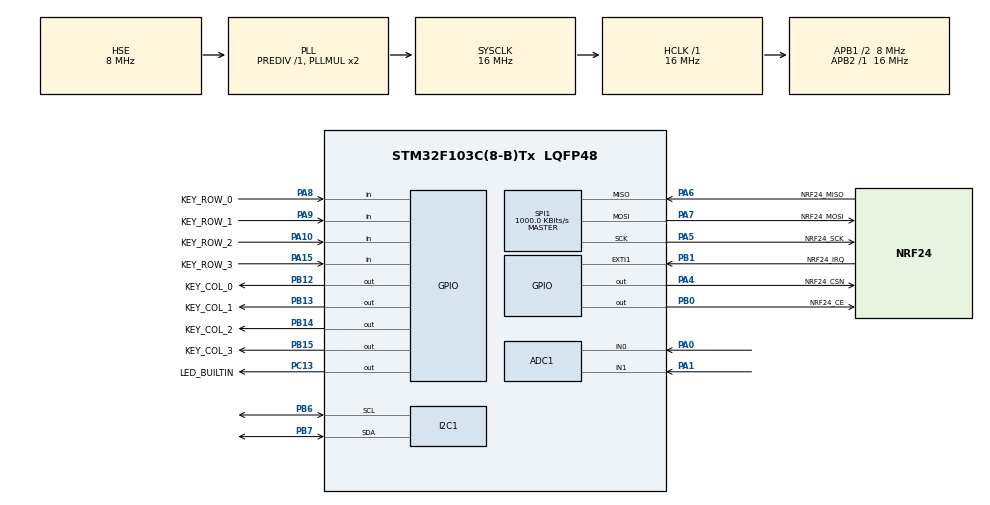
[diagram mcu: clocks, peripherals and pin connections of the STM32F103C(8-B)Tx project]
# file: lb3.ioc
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ADC1.Channel-0\#ChannelRegularConversion=ADC_CHANNEL_0
ADC1.Channel-1\#ChannelRegularConversion=ADC_CHANNEL_1
ADC1.ContinuousConvMode=ENABLE
ADC1.DiscontinuousConvMode=DISABLE
ADC1.NbrOfConversion=2
ADC1.NbrOfConversionFlag=1
ADC1.Rank-0\#ChannelRegularConversion=1
ADC1.Rank-1\#ChannelRegularConversion=2
ADC1.SamplingTime-0\#ChannelRegularConversion=ADC_SAMPLETIME_239CYCLES_5
ADC1.SamplingTime-1\#ChannelRegularConversion=ADC_SAMPLETIME_239CYCLES_5
ADC1.master=1
Dma.ADC1.3.Direction=DMA_PERIPH_TO_MEMORY
Dma.ADC1.3.Instance=DMA1_Channel1
Dma.ADC1.3.MemDataAlignment=DMA_MDATAALIGN_WORD
Dma.ADC1.3.MemInc=DMA_MINC_ENABLE
Dma.ADC1.3.Mode=DMA_CIRCULAR
Dma.ADC1.3.PeriphDataAlignment=DMA_PDATAALIGN_WORD
Dma.ADC1.3.PeriphInc=DMA_PINC_DISABLE
Dma.ADC1.3.Priority=DMA_PRIORITY_LOW
Dma.I2C1_TX.0.Direction=DMA_MEMORY_TO_PERIPH
Dma.I2C1_TX.0.Instance=DMA1_Channel6
Dma.I2C1_TX.0.MemDataAlignment=DMA_MDATAALIGN_BYTE
Dma.I2C1_TX.0.MemInc=DMA_MINC_ENABLE
Dma.I2C1_TX.0.Mode=DMA_NORMAL
Dma.I2C1_TX.0.PeriphDataAlignment=DMA_PDATAALIGN_BYTE
Dma.I2C1_TX.0.PeriphInc=DMA_PINC_DISABLE
Dma.I2C1_TX.0.Priority=DMA_PRIORITY_LOW
Dma.Request0=I2C1_TX
Dma.Request1=SPI1_TX
Dma.Request2=SPI1_RX
Dma.Request3=ADC1
Dma.SPI1_RX.2.Direction=DMA_PERIPH_TO_MEMORY
Dma.SPI1_RX.2.Instance=DMA1_Channel2
Dma.SPI1_RX.2.MemDataAlignment=DMA_MDATAALIGN_BYTE
Dma.SPI1_RX.2.MemInc=DMA_MINC_ENABLE
Dma.SPI1_RX.2.Mode=DMA_NORMAL
Dma.SPI1_RX.2.PeriphDataAlignment=DMA_PDATAALIGN_BYTE
Dma.SPI1_RX.2.PeriphInc=DMA_PINC_DISABLE
Dma.SPI1_RX.2.Priority=DMA_PRIORITY_LOW
Dma.SPI1_TX.1.Direction=DMA_MEMORY_TO_PERIPH
Dma.SPI1_TX.1.Instance=DMA1_Channel3
Dma.SPI1_TX.1.MemDataAlignment=DMA_MDATAALIGN_BYTE
Dma.SPI1_TX.1.MemInc=DMA_MINC_ENABLE
Dma.SPI1_TX.1.Mode=DMA_NORMAL
Dma.SPI1_TX.1.PeriphDataAlignment=DMA_PDATAALIGN_BYTE
Dma.SPI1_TX.1.PeriphInc=DMA_PINC_DISABLE
Dma.SPI1_TX.1.Priority=DMA_PRIORITY_LOW
FREERTOS.BinarySemaphores01=i2cTxDoneSemHandle,Dynamic,NULL,Available;radioIrqSemHandle,Dynamic,NULL,Available
FREERTOS.Queues01=radioTxQueueHandle,2,32,1,Dynamic,NULL,NULL;displayQueueHandle,4,40,1,Dynamic,NULL,NULL;keyEventQueueHandle,8,1,1,Dynamic,NULL,NULL
FREERTOS.Tasks01=logic_task,24,512,logic_task_entry,Default,NULL,Dynamic,NULL,NULL;radio_task,24,160,radio_task_entry,Default,NULL,Dynamic,NULL,NULL;display_task,8,192,display_task_entry,Default,NULL,Dynamic,NULL,NULL;keypad_task,32,128,keypad_task_entry,Default,NULL,Dynamic,NULL,NULL
FREERTOS.configTOTAL_HEAP_SIZE=10240
FREERTOS.configUSE_IDLE_HOOK=1
FREERTOS.configUSE_NEWLIB_REENTRANT=1
IWDG.Prescaler=IWDG_PRESCALER_128
Mcu.Family=STM32F1
Mcu.Name=STM32F103C(8-B)Tx
Mcu.Package=LQFP48
NVIC.DMA1_Channel1_IRQn=true\:5\:0\:false\:false\:true\:true\:false\:true\:true
NVIC.DMA1_Channel2_IRQn=true\:5\:0\:false\:false\:true\:true\:false\:true\:true
NVIC.DMA1_Channel3_IRQn=true\:5\:0\:false\:false\:true\:true\:false\:true\:true
NVIC.DMA1_Channel6_IRQn=true\:5\:0\:false\:false\:true\:true\:false\:true\:true
NVIC.EXTI1_IRQn=true\:5\:0\:false\:false\:true\:true\:true\:true\:true
NVIC.I2C1_ER_IRQn=true\:6\:0\:true\:false\:true\:true\:true\:true\:true
NVIC.I2C1_EV_IRQn=true\:6\:0\:true\:false\:true\:true\:true\:true\:true
NVIC.PriorityGroup=NVIC_PRIORITYGROUP_4
NVIC.TIM1_UP_IRQn=true\:15\:0\:false\:false\:true\:false\:false\:true\:true
NVIC.TimeBase=TIM1_UP_IRQn
NVIC.TimeBaseIP=TIM1
PA0-WKUP.Signal=ADCx_IN0
PA1.Signal=ADCx_IN1
PA10.GPIO_Label=KEY_ROW_2
PA10.GPIO_PuPd=GPIO_PULLUP
PA10.Signal=GPIO_Input
PA13.Mode=Serial_Wire
PA13.Signal=SYS_JTMS-SWDIO
PA14.Mode=Serial_Wire
PA14.Signal=SYS_JTCK-SWCLK
PA15.GPIO_Label=KEY_ROW_3
PA15.GPIO_PuPd=GPIO_PULLUP
PA15.Signal=GPIO_Input
PA4.GPIO_Label=NRF24_CSN
PA4.PinState=GPIO_PIN_SET
PA4.Signal=GPIO_Output
PA5.GPIO_Label=NRF24_SCK
PA5.Mode=Full_Duplex_Master
PA5.Signal=SPI1_SCK
PA6.GPIO_Label=NRF24_MISO
PA6.Mode=Full_Duplex_Master
PA6.Signal=SPI1_MISO
PA7.GPIO_Label=NRF24_MOSI
PA7.Mode=Full_Duplex_Master
PA7.Signal=SPI1_MOSI
PA8.GPIO_Label=KEY_ROW_0
PA8.GPIO_PuPd=GPIO_PULLUP
PA8.Signal=GPIO_Input
PA9.GPIO_Label=KEY_ROW_1
PA9.GPIO_PuPd=GPIO_PULLUP
PA9.Signal=GPIO_Input
PB0.GPIO_Label=NRF24_CE
PB0.Signal=GPIO_Output
PB1.GPIO_Label=NRF24_IRQ
PB1.GPIO_ModeDefaultEXTI=GPIO_MODE_IT_FALLING
PB1.GPIO_PuPd=GPIO_PULLUP
PB1.Signal=GPXTI1
PB12.GPIO_Label=KEY_COL_0
PB12.Signal=GPIO_Output
PB13.GPIO_Label=KEY_COL_1
PB13.Signal=GPIO_Output
PB14.GPIO_Label=KEY_COL_2
PB14.Signal=GPIO_Output
PB15.GPIO_Label=KEY_COL_3
PB15.Signal=GPIO_Output
PB6.Mode=I2C
PB6.Signal=I2C1_SCL
PB7.Mode=I2C
PB7.Signal=I2C1_SDA
PC13-TAMPER-RTC.GPIO_Label=LED_BUILTIN
PC13-TAMPER-RTC.PinState=GPIO_PIN_SET
PC13-TAMPER-RTC.Signal=GPIO_Output
PC15-OSC32_OUT.Signal=RCC_OSC32_OUT
PD0-OSC_IN.Mode=HSE-External-Oscillator
PD0-OSC_IN.Signal=RCC_OSC_IN
PD1-OSC_OUT.Mode=HSE-External-Oscillator
PD1-OSC_OUT.Signal=RCC_OSC_OUT
ProjectManager.HeapSize=0x200
ProjectManager.StackSize=0x400
ProjectManager.TargetToolchain=STM32CubeIDE
RCC.AHBFreq_Value=16000000
RCC.APB1CLKDivider=RCC_HCLK_DIV2
RCC.APB1Freq_Value=8000000
RCC.APB1TimFreq_Value=16000000
RCC.APB2Freq_Value=16000000
RCC.APB2TimFreq_Value=16000000
RCC.HCLKFreq_Value=16000000
RCC.PLLSourceVirtual=RCC_PLLSOURCE_HSE
RCC.SYSCLKFreq_VALUE=16000000
RCC.SYSCLKSource=RCC_SYSCLKSOURCE_PLLCLK
RCC.USBFreq_Value=16000000
SH.ADCx_IN0.0=ADC1_IN0,IN0
SH.ADCx_IN1.0=ADC1_IN1,IN1
SPI1.BaudRatePrescaler=SPI_BAUDRATEPRESCALER_16
SPI1.CalculateBaudRate=1000.0 KBits/s
SPI1.Direction=SPI_DIRECTION_2LINES
SPI1.Mode=SPI_MODE_MASTER
SPI1.VirtualType=VM_MASTER
VP_FREERTOS_VS_CMSIS_V2.Mode=CMSIS_V2
VP_IWDG_VS_IWDG.Mode=IWDG_Activate
VP_SYS_VS_tim1.Mode=TIM1
board=custom

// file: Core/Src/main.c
/* USER CODE BEGIN Header */
/**
  ******************************************************************************
  * @file           : main.c
  * @brief          : Main program body
  ******************************************************************************
  * @attention
  *
  * Copyright (c) 2025 STMicroelectronics.
  * All rights reserved.
  *
  * This software is licensed under terms that can be found in the LICENSE file
  * in the root directory of this software component.
  * If no LICENSE file comes with this software, it is provided AS-IS.
  *
  ******************************************************************************
  */
/* USER CODE END Header */
#include "main.h"
#include "cmsis_os.h"
#include "adc.h"
#include "dma.h"
#include "i2c.h"
#include "iwdg.h"
#include "spi.h"
#include "gpio.h"

/* USER CODE BEGIN Includes */
#include "rtos_tasks.h"
/* USER CODE END Includes */

void SystemClock_Config(void);
void MX_FREERTOS_Init(void);

int main(void)
{

  /* MCU Configuration--------------------------------------------------------*/

  /* Reset of all peripherals, Initializes the Flash interface and the Systick. */
  HAL_Init();

  /* Configure the system clock */
  SystemClock_Config();

  /* Initialize all configured peripherals */
  MX_GPIO_Init();
  MX_DMA_Init();
  MX_I2C1_Init();
  MX_SPI1_Init();
  MX_IWDG_Init();
  MX_ADC1_Init();

  /* Init scheduler */
  osKernelInitialize();  /* Call init function for freertos objects (in cmsis_os2.c) */
  MX_FREERTOS_Init();

  /* Start scheduler */
  osKernelStart();

  /* We should never get here as control is now taken by the scheduler */

  /* Infinite loop */
  while (1)
  {

  }
}

void SystemClock_Config(void)
{
  RCC_OscInitTypeDef RCC_OscInitStruct = {0};
  RCC_ClkInitTypeDef RCC_ClkInitStruct = {0};
  RCC_PeriphCLKInitTypeDef PeriphClkInit = {0};

  /** Initializes the RCC Oscillators according to the specified parameters
  * in the RCC_OscInitTypeDef structure.
  */
  RCC_OscInitStruct.OscillatorType = RCC_OSCILLATORTYPE_LSI|RCC_OSCILLATORTYPE_HSE;
  RCC_OscInitStruct.HSEState = RCC_HSE_ON;
  RCC_OscInitStruct.HSEPredivValue = RCC_HSE_PREDIV_DIV1;
  RCC_OscInitStruct.HSIState = RCC_HSI_ON;
  RCC_OscInitStruct.LSIState = RCC_LSI_ON;
  RCC_OscInitStruct.PLL.PLLState = RCC_PLL_ON;
  RCC_OscInitStruct.PLL.PLLSource = RCC_PLLSOURCE_HSE;
  RCC_OscInitStruct.PLL.PLLMUL = RCC_PLL_MUL2;
  if (HAL_RCC_OscConfig(&RCC_OscInitStruct) != HAL_OK)
  {
    Error_Handler();
  }

  /** Initializes the CPU, AHB and APB buses clocks
  */
  RCC_ClkInitStruct.ClockType = RCC_CLOCKTYPE_HCLK|RCC_CLOCKTYPE_SYSCLK
                              |RCC_CLOCKTYPE_PCLK1|RCC_CLOCKTYPE_PCLK2;
  RCC_ClkInitStruct.SYSCLKSource = RCC_SYSCLKSOURCE_PLLCLK;
  RCC_ClkInitStruct.AHBCLKDivider = RCC_SYSCLK_DIV1;
  RCC_ClkInitStruct.APB1CLKDivider = RCC_HCLK_DIV2;
  RCC_ClkInitStruct.APB2CLKDivider = RCC_HCLK_DIV1;

  if (HAL_RCC_ClockConfig(&RCC_ClkInitStruct, FLASH_LATENCY_0) != HAL_OK)
  {
    Error_Handler();
  }
  PeriphClkInit.PeriphClockSelection = RCC_PERIPHCLK_ADC;
  PeriphClkInit.AdcClockSelection = RCC_ADCPCLK2_DIV2;
  if (HAL_RCCEx_PeriphCLKConfig(&PeriphClkInit) != HAL_OK)
  {
    Error_Handler();
  }
}

/* USER CODE BEGIN 4 */

/**
  * @brief  I2C DMA Transfer Complete (Success) Callback.
  * @note   This is triggered by the I2C Event Interrupt when DMA finishes.
  */
void HAL_I2C_MemTxCpltCallback(I2C_HandleTypeDef *hi2c)
{
  // Check if this is our I2C1 peripheral
  if (hi2c->Instance == hi2c1.Instance)
  {
    // Give the semaphore to unblock the display_task
	  osSemaphoreRelease(i2cTxDoneSemHandleHandle);
  }
}

/**
  * @brief  I2C Error Callback.
  * @note   This is triggered by the I2C Error Interrupt.
  */
void HAL_I2C_ErrorCallback(I2C_HandleTypeDef *hi2c)
{
  if (hi2c->Instance == hi2c1.Instance)
  {
    // 1. Manually reset the HAL state to HAL_I2C_STATE_READY.
    // This is our "elegant fix" to clear the HAL_BUSY state.
    hi2c->State = HAL_I2C_STATE_READY;

    // 2. Also give the semaphore to unblock the display_task,
    //    so it doesn't get stuck on xSemaphoreTake().
    osSemaphoreRelease(i2cTxDoneSemHandleHandle);
  }
}
/* USER CODE END 4 */

void HAL_TIM_PeriodElapsedCallback(TIM_HandleTypeDef *htim)
{
  if (htim->Instance == TIM1)
  {
    HAL_IncTick();
  }
}

void Error_Handler(void)
{
  __disable_irq();
  while (1)
  {
  }
}

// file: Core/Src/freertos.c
/* USER CODE BEGIN Header */
/**
  ******************************************************************************
  * File Name          : freertos.c
  * Description        : Code for freertos applications
  ******************************************************************************
  * @attention
  *
  * Copyright (c) 2025 STMicroelectronics.
  * All rights reserved.
  *
  * This software is licensed under terms that can be found in the LICENSE file
  * in the root directory of this software component.
  * If no LICENSE file comes with this software, it is provided AS-IS.
  *
  ******************************************************************************
  */
/* USER CODE END Header */

#include "FreeRTOS.h"
#include "task.h"
#include "main.h"
#include "cmsis_os.h"

/* USER CODE BEGIN Includes */
#include "rtos_tasks.h"
#include "messaging.h"
/* USER CODE END Includes */

/* USER CODE BEGIN PTD */
extern IWDG_HandleTypeDef hiwdg;
/* USER CODE END PTD */

/* Definitions for logic_task */
osThreadId_t logic_taskHandle;
const osThreadAttr_t logic_task_attributes = {
  .name = "logic_task",
  .stack_size = 512 * 4,
  .priority = (osPriority_t) osPriorityNormal,
};
/* Definitions for radio_task */
osThreadId_t radio_taskHandle;
const osThreadAttr_t radio_task_attributes = {
  .name = "radio_task",
  .stack_size = 160 * 4,
  .priority = (osPriority_t) osPriorityNormal,
};
/* Definitions for display_task */
osThreadId_t display_taskHandle;
const osThreadAttr_t display_task_attributes = {
  .name = "display_task",
  .stack_size = 192 * 4,
  .priority = (osPriority_t) osPriorityLow,
};
/* Definitions for keypad_task */
osThreadId_t keypad_taskHandle;
const osThreadAttr_t keypad_task_attributes = {
  .name = "keypad_task",
  .stack_size = 128 * 4,
  .priority = (osPriority_t) osPriorityAboveNormal,
};
/* Definitions for radioTxQueueHandle */
osMessageQueueId_t radioTxQueueHandleHandle;
const osMessageQueueAttr_t radioTxQueueHandle_attributes = {
  .name = "radioTxQueueHandle"
};
/* Definitions for displayQueueHandle */
osMessageQueueId_t displayQueueHandleHandle;
const osMessageQueueAttr_t displayQueueHandle_attributes = {
  .name = "displayQueueHandle"
};
/* Definitions for keyEventQueueHandle */
osMessageQueueId_t keyEventQueueHandleHandle;
const osMessageQueueAttr_t keyEventQueueHandle_attributes = {
  .name = "keyEventQueueHandle"
};
/* Definitions for i2cTxDoneSemHandle */
osSemaphoreId_t i2cTxDoneSemHandleHandle;
const osSemaphoreAttr_t i2cTxDoneSemHandle_attributes = {
  .name = "i2cTxDoneSemHandle"
};
/* Definitions for radioIrqSemHandle */
osSemaphoreId_t radioIrqSemHandleHandle;
const osSemaphoreAttr_t radioIrqSemHandle_attributes = {
  .name = "radioIrqSemHandle"
};

void logic_task_entry(void *argument);
void radio_task_entry(void *argument);
void display_task_entry(void *argument);
void keypad_task_entry(void *argument);

void MX_FREERTOS_Init(void); /* (MISRA C 2004 rule 8.1) */

/* Hook prototypes */
void vApplicationIdleHook(void);

/* USER CODE BEGIN 2 */
void vApplicationIdleHook( void )
{
	HAL_IWDG_Refresh(&hiwdg);
}
/* USER CODE END 2 */

void MX_FREERTOS_Init(void) {

  /* Create the semaphores(s) */
  /* creation of i2cTxDoneSemHandle */
  i2cTxDoneSemHandleHandle = osSemaphoreNew(1, 1, &i2cTxDoneSemHandle_attributes);

  /* creation of radioIrqSemHandle */
  radioIrqSemHandleHandle = osSemaphoreNew(1, 1, &radioIrqSemHandle_attributes);

  /* Create the queue(s) */
  /* creation of radioTxQueueHandle */
  radioTxQueueHandleHandle = osMessageQueueNew (2, 32, &radioTxQueueHandle_attributes);

  /* creation of displayQueueHandle */
  displayQueueHandleHandle = osMessageQueueNew (4, 40, &displayQueueHandle_attributes);

  /* creation of keyEventQueueHandle */
  keyEventQueueHandleHandle = osMessageQueueNew (8, 1, &keyEventQueueHandle_attributes);

  /* Create the thread(s) */
  /* creation of logic_task */
  logic_taskHandle = osThreadNew(logic_task_entry, NULL, &logic_task_attributes);

  /* creation of radio_task */
  radio_taskHandle = osThreadNew(radio_task_entry, NULL, &radio_task_attributes);

  /* creation of display_task */
  display_taskHandle = osThreadNew(display_task_entry, NULL, &display_task_attributes);

  /* creation of keypad_task */
  keypad_taskHandle = osThreadNew(keypad_task_entry, NULL, &keypad_task_attributes);

}

void logic_task_entry(void *argument)
{
  /* USER CODE BEGIN logic_task_entry */
  /* Infinite loop */
	logic_run_task();
  /* USER CODE END logic_task_entry */
}

void radio_task_entry(void *argument)
{
  /* USER CODE BEGIN radio_task_entry */
  /* Infinite loop */
	radio_run_task();
  /* USER CODE END radio_task_entry */
}

void display_task_entry(void *argument)
{
  /* USER CODE BEGIN display_task_entry */
  /* Infinite loop */
	display_run_task();
  /* USER CODE END display_task_entry */
}

void keypad_task_entry(void *argument)
{
  /* USER CODE BEGIN keypad_task_entry */
  /* Infinite loop */
	keypad_run_task();
  /* USER CODE END keypad_task_entry */
}
